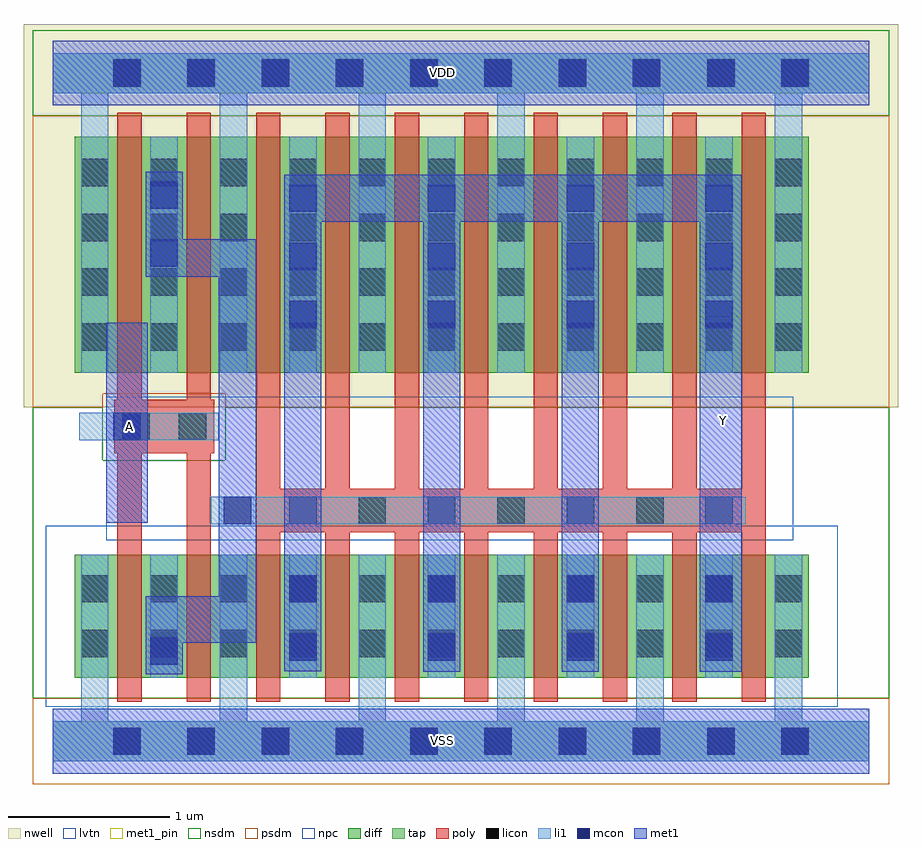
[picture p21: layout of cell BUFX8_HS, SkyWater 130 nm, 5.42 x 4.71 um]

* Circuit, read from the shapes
.subckt BUFX8_HS A VDD VSS Y
XM1 n1 A VSS VSS sky130_fd_pr__nfet_01v8_lvt w=0.76 l=0.15 m=2
XM2 Y n1 VSS VSS sky130_fd_pr__nfet_01v8_lvt w=0.76 l=0.15 m=8
XM3 n1 A VDD VDD sky130_fd_pr__pfet_01v8 w=1.46 l=0.15 m=2
XM4 Y n1 VDD VDD sky130_fd_pr__pfet_01v8 w=1.46 l=0.15 m=8
.ends

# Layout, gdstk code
from math import pi, radians
import gdstk
lib = gdstk.Library(unit=1e-6, precision=1e-09)
def R(c, l, rs):  # rectangles x0, y0, x1, y1
    for r in rs: c.add(gdstk.rectangle(r[:2], r[2:], *l))
def A(c, l, x, y, w, h, nx, ny, dx, dy):  # array of equal rectangles
    R(c, l, [(x+i*dx, y+j*dy, x+i*dx+w, y+j*dy+h) for i in range(nx) for j in range(ny)])
def P(c, l, *ps):  # polygons
    for p in ps: c.add(gdstk.Polygon(p, *l))
nwell = (64, 20)
diff = (65, 20)
tap = (65, 44)
poly = (66, 20)
licon = (66, 44)
li1 = (67, 20)
mcon = (67, 44)
met1_pin = (68, 16)
met1 = (68, 20)
nsdm = (93, 44)
psdm = (94, 20)
npc = (95, 20)
lvtn = (125, 44)

l1m1_c_cdns_750721774072 = lib.new_cell('L1M1_C_CDNS_750721774072')
R(l1m1_c_cdns_750721774072, li1, [(-0.085,-0.165,0.085,0.165)])
R(l1m1_c_cdns_750721774072, mcon, [(-0.085,-0.085,0.085,0.085)])
R(l1m1_c_cdns_750721774072, met1, [(-0.115,-0.145,0.115,0.145)])

pyl1con_c_cdns_750721774 = lib.new_cell('PYL1CON_C_CDNS_750721774073')
R(pyl1con_c_cdns_750721774, poly, [(-0.135,-0.165,0.135,0.165)])
R(pyl1con_c_cdns_750721774, licon, [(-0.085,-0.085,0.085,0.085)])
R(pyl1con_c_cdns_750721774, npc, [(-0.185,-0.185,0.185,0.185)])

l1m1_c_cdns_750721774076 = lib.new_cell('L1M1_C_CDNS_750721774076')
R(l1m1_c_cdns_750721774076, li1, [(-0.085,-0.345,0.085,0.345)])
R(l1m1_c_cdns_750721774076, mcon, [(-0.085,-0.265,0.085,-0.095), (-0.085,0.095,0.085,0.265)])
R(l1m1_c_cdns_750721774076, met1, [(-0.115,-0.325,0.115,0.325)])

l1m1_c_cdns_750721774074 = lib.new_cell('L1M1_C_CDNS_750721774074')
R(l1m1_c_cdns_750721774074, li1, [(-0.165,-0.085,0.165,0.085)])
R(l1m1_c_cdns_750721774074, mcon, [(-0.085,-0.085,0.085,0.085)])
R(l1m1_c_cdns_750721774074, met1, [(-0.115,-0.145,0.115,0.145)])

bufx8_hs = lib.new_cell('BUFX8_HS')
R(bufx8_hs, nwell, [(-0.18,2.07,5.24,4.305), (-0.045,2.105,1.385,3.925), (1.025,2.105,4.865,3.925), (-0.18,3.875,5.24,4.445)])
A(bufx8_hs, diff, 0.4, 0.395, 0.15, 0.76, 10, 1, 0.43, 0)
A(bufx8_hs, diff, 1.41, 0.395, 0.28, 0.76, 7, 1, 0.43, 0)
A(bufx8_hs, diff, 0.4, 2.285, 0.15, 1.46, 10, 1, 0.43, 0)
A(bufx8_hs, diff, 1.41, 2.285, 0.28, 1.46, 7, 1, 0.43, 0)
R(bufx8_hs, diff, [(0.135,0.395,0.4,1.155), (0.55,0.395,0.83,1.155), (0.98,0.395,1.205,1.155), (1.205,0.395,1.26,1.155), (4.42,0.395,4.685,1.155), (0.135,2.285,0.4,3.745), (0.55,2.285,0.83,3.745), (0.98,2.285,1.205,3.745), (1.205,2.285,1.26,3.745), (4.42,2.285,4.685,3.745)])
A(bufx8_hs, poly, 0.4, 0.245, 0.15, 0.055, 10, 2, 0.43, 1.005)
A(bufx8_hs, poly, 0.4, 0.3, 0.15, 0.095, 10, 2, 0.43, 0.855)
A(bufx8_hs, poly, 0.4, 0.395, 0.15, 0.76, 10, 1, 0.43, 0)
A(bufx8_hs, poly, 0.4, 2.135, 0.15, 0.055, 10, 2, 0.43, 1.705)
A(bufx8_hs, poly, 0.4, 2.19, 0.15, 0.095, 10, 2, 0.43, 1.555)
A(bufx8_hs, poly, 0.4, 2.285, 0.15, 1.46, 10, 1, 0.43, 0)
R(bufx8_hs, poly, [(0.38,1.785,1,2.115)])
A(bufx8_hs, licon, 0.375, -0.085, 0.17, 0.17, 10, 2, 0.46, 4.14)
A(bufx8_hs, licon, 0.175, 0.52, 0.17, 0.17, 11, 2, 0.43, 0.34)
A(bufx8_hs, licon, 0.175, 2.42, 0.17, 0.17, 11, 4, 0.43, 0.34)
A(bufx8_hs, li1, 0.175, 0.395, 0.17, 0.76, 11, 1, 0.43, 0)
A(bufx8_hs, li1, 0.175, 2.285, 0.17, 1.46, 11, 1, 0.43, 0)
A(bufx8_hs, mcon, 0.375, -0.085, 0.17, 0.17, 10, 2, 0.46, 4.14)
A(bufx8_hs, mcon, 1.465, 0.5, 0.17, 0.17, 4, 2, 0.86, 0.36)
A(bufx8_hs, mcon, 1.465, 2.56, 0.17, 0.17, 4, 3, 0.86, 0.36)
R(bufx8_hs, met1_pin, [(0.33,1.355,0.59,2.595), (4.01,1.395,4.27,2.635)])
R(bufx8_hs, nsdm, [(-0.005,0.265,1.215,1.285), (1.195,0.265,4.825,1.285), (-0.125,3.875,5.185,4.405), (-0.125,3.93,5.185,4.35)])
P(bufx8_hs, nsdm, [(5.185,2.07),(1.07,2.07),(1.07,1.74),(0.31,1.74),(0.31,2.07),(-0.125,2.07),(-0.125,0.265),(5.185,0.265)])
R(bufx8_hs, psdm, [(-0.125,-0.265,5.185,0.265), (-0.125,-0.21,5.185,0.21), (-0.005,2.155,1.215,3.875), (1.195,2.155,4.825,3.875)])
P(bufx8_hs, psdm, [(5.185,3.875),(-0.125,3.875),(-0.125,2.07),(0.31,2.07),(0.31,2.155),(1.07,2.155),(1.07,2.07),(5.185,2.07)])
R(bufx8_hs, npc, [(0.33,1.245,4.59,2.135)])
R(bufx8_hs, lvtn, [(-0.045,0.215,1.385,1.335), (1.025,0.215,4.865,1.335)])
bufx8_hs.add(gdstk.FlexPath([(0.905,1.86),(0.905,1.305)], 0.15, ends=(0.075, 0), simple_path=True, layer=66, datatype=20))  # poly
bufx8_hs.add(gdstk.FlexPath([(0.905,1.86),(1,1.86)], 0.15, ends=(0.075, 0), simple_path=True, layer=66, datatype=20))  # poly
bufx8_hs.add(gdstk.FlexPath([(0.475,1.86),(0.475,1.305)], 0.15, ends=(0.075, 0), simple_path=True, layer=66, datatype=20))  # poly
bufx8_hs.add(gdstk.FlexPath([(0.475,1.86),(0.38,1.86)], 0.15, ends=(0.075, 0), simple_path=True, layer=66, datatype=20))  # poly
bufx8_hs.add(gdstk.FlexPath([(4.345,2.135),(4.345,1.305)], 0.15, ends="flush", simple_path=True, layer=66, datatype=20))  # poly
bufx8_hs.add(gdstk.FlexPath([(3.915,2.135),(3.915,1.305)], 0.15, ends="flush", simple_path=True, layer=66, datatype=20))  # poly
bufx8_hs.add(gdstk.FlexPath([(3.485,2.135),(3.485,1.305)], 0.15, ends="flush", simple_path=True, layer=66, datatype=20))  # poly
bufx8_hs.add(gdstk.FlexPath([(2.625,2.135),(2.625,1.305)], 0.15, ends="flush", simple_path=True, layer=66, datatype=20))  # poly
bufx8_hs.add(gdstk.FlexPath([(1.765,2.135),(1.765,1.305)], 0.15, ends="flush", simple_path=True, layer=66, datatype=20))  # poly
bufx8_hs.add(gdstk.FlexPath([(0.905,2.135),(0.905,1.86)], 0.15, ends=(0, 0.075), simple_path=True, layer=66, datatype=20))  # poly
bufx8_hs.add(gdstk.FlexPath([(3.055,2.135),(3.055,1.305)], 0.15, ends="flush", simple_path=True, layer=66, datatype=20))  # poly
bufx8_hs.add(gdstk.FlexPath([(2.195,2.135),(2.195,1.305)], 0.15, ends="flush", simple_path=True, layer=66, datatype=20))  # poly
bufx8_hs.add(gdstk.FlexPath([(1.335,2.135),(1.335,1.305)], 0.15, ends="flush", simple_path=True, layer=66, datatype=20))  # poly
bufx8_hs.add(gdstk.FlexPath([(0.475,2.135),(0.475,1.86)], 0.15, ends=(0, 0.075), simple_path=True, layer=66, datatype=20))  # poly
bufx8_hs.add(gdstk.FlexPath([(4.34,0),(5.06,0)], 0.25, ends=(0.085, 0), simple_path=True, layer=67, datatype=20))  # li1
bufx8_hs.add(gdstk.FlexPath([(0.69,0),(2.47,0)], 0.25, ends=(0.085, 0.085), simple_path=True, layer=67, datatype=20))  # li1
bufx8_hs.add(gdstk.FlexPath([(2.47,0),(3.42,0)], 0.25, ends=(0.085, 0.085), simple_path=True, layer=67, datatype=20))  # li1
bufx8_hs.add(gdstk.FlexPath([(0,0),(0.69,0)], 0.25, ends=(0, 0.085), simple_path=True, layer=67, datatype=20))  # li1
bufx8_hs.add(gdstk.FlexPath([(3.42,0),(4.34,0)], 0.25, ends=(0.085, 0.085), simple_path=True, layer=67, datatype=20))  # li1
bufx8_hs.add(gdstk.FlexPath([(2.47,4.14),(3.42,4.14)], 0.25, ends=(0.085, 0.085), simple_path=True, layer=67, datatype=20))  # li1
bufx8_hs.add(gdstk.FlexPath([(0.98,1.43),(4.295,1.43)], 0.17, ends="flush", simple_path=True, layer=67, datatype=20))  # li1
bufx8_hs.add(gdstk.FlexPath([(0,4.14),(0.69,4.14)], 0.25, ends=(0, 0.085), simple_path=True, layer=67, datatype=20))  # li1
bufx8_hs.add(gdstk.FlexPath([(3.42,4.14),(4.34,4.14)], 0.25, ends=(0.085, 0.085), simple_path=True, layer=67, datatype=20))  # li1
bufx8_hs.add(gdstk.FlexPath([(0.69,4.14),(2.47,4.14)], 0.25, ends=(0.085, 0.085), simple_path=True, layer=67, datatype=20))  # li1
bufx8_hs.add(gdstk.FlexPath([(4.34,4.14),(5.06,4.14)], 0.25, ends=(0.085, 0), simple_path=True, layer=67, datatype=20))  # li1
bufx8_hs.add(gdstk.FlexPath([(0.26,0),(0.215,0)], 0.17, ends=(0.085, 0), simple_path=True, layer=67, datatype=20))  # li1
bufx8_hs.add(gdstk.FlexPath([(1.12,0.59),(1.12,0)], 0.17, ends=(0, 0.085), simple_path=True, layer=67, datatype=20))  # li1
bufx8_hs.add(gdstk.FlexPath([(1.98,0),(1.625,0)], 0.17, ends="extended", simple_path=True, layer=67, datatype=20))  # li1
bufx8_hs.add(gdstk.FlexPath([(2.84,0.59),(2.84,0)], 0.17, ends=(0, 0.125), simple_path=True, layer=67, datatype=20))  # li1
bufx8_hs.add(gdstk.FlexPath([(3.7,0),(2.84,0)], 0.17, ends="extended", simple_path=True, layer=67, datatype=20))  # li1
bufx8_hs.add(gdstk.FlexPath([(4.56,0),(3.7,0)], 0.17, ends="extended", simple_path=True, layer=67, datatype=20))  # li1
bufx8_hs.add(gdstk.FlexPath([(0.165,1.95),(1.03,1.95)], 0.17, ends="flush", simple_path=True, layer=67, datatype=20))  # li1
bufx8_hs.add(gdstk.FlexPath([(3.7,3.55),(3.7,4.14)], 0.17, ends=(0, 0.125), simple_path=True, layer=67, datatype=20))  # li1
bufx8_hs.add(gdstk.FlexPath([(3.7,0.59),(3.7,0)], 0.17, ends=(0, 0.125), simple_path=True, layer=67, datatype=20))  # li1
bufx8_hs.add(gdstk.FlexPath([(0.26,4.14),(0.215,4.14)], 0.17, ends=(0.085, 0), simple_path=True, layer=67, datatype=20))  # li1
bufx8_hs.add(gdstk.FlexPath([(1.12,3.55),(1.12,4.14)], 0.17, ends=(0, 0.125), simple_path=True, layer=67, datatype=20))  # li1
bufx8_hs.add(gdstk.FlexPath([(4.56,4.14),(0.26,4.14)], 0.17, ends="extended", simple_path=True, layer=67, datatype=20))  # li1
bufx8_hs.add(gdstk.FlexPath([(4.56,3.55),(4.56,4.14)], 0.17, ends=(0, 0.085), simple_path=True, layer=67, datatype=20))  # li1
bufx8_hs.add(gdstk.FlexPath([(1.12,0),(0.215,0)], 0.17, ends=(0.085, 0), simple_path=True, layer=67, datatype=20))  # li1
bufx8_hs.add(gdstk.FlexPath([(2.84,0),(1.98,0)], 0.17, ends="extended", simple_path=True, layer=67, datatype=20))  # li1
bufx8_hs.add(gdstk.FlexPath([(4.56,0.59),(4.56,0)], 0.17, ends=(0, 0.085), simple_path=True, layer=67, datatype=20))  # li1
bufx8_hs.add(gdstk.FlexPath([(0.26,3.55),(0.26,4.14)], 0.17, ends=(0, 0.085), simple_path=True, layer=67, datatype=20))  # li1
bufx8_hs.add(gdstk.FlexPath([(1.98,3.55),(1.98,4.14)], 0.17, ends=(0, 0.125), simple_path=True, layer=67, datatype=20))  # li1
bufx8_hs.add(gdstk.FlexPath([(2.84,3.55),(2.84,4.14)], 0.17, ends=(0, 0.125), simple_path=True, layer=67, datatype=20))  # li1
bufx8_hs.add(gdstk.FlexPath([(1.98,0.59),(1.98,0)], 0.17, ends=(0, 0.125), simple_path=True, layer=67, datatype=20))  # li1
bufx8_hs.add(gdstk.FlexPath([(0.26,0.59),(0.26,0)], 0.17, ends=(0, 0.085), simple_path=True, layer=67, datatype=20))  # li1
bufx8_hs.add(gdstk.FlexPath([(0,0),(5.06,0)], 0.4, ends="flush", simple_path=True, layer=68, datatype=20))  # met1
bufx8_hs.add(gdstk.FlexPath([(4.27,3.365),(1.435,3.365)], 0.29, ends="flush", simple_path=True, layer=68, datatype=20))  # met1
bufx8_hs.add(gdstk.FlexPath([(0.46,1.355),(0.46,2.595)], 0.26, ends="flush", simple_path=True, layer=68, datatype=20))  # met1
bufx8_hs.add(gdstk.FlexPath([(0,4.14),(5.06,4.14)], 0.4, ends="flush", simple_path=True, layer=68, datatype=20))  # met1
bufx8_hs.add(gdstk.FlexPath([(4.14,0.43),(4.14,3.495)], 0.26, ends="flush", simple_path=True, layer=68, datatype=20))  # met1
bufx8_hs.add(gdstk.FlexPath([(3.27,3.495),(3.27,0.43)], 0.23, ends="flush", simple_path=True, layer=68, datatype=20))  # met1
bufx8_hs.add(gdstk.FlexPath([(2.41,3.495),(2.41,0.43)], 0.23, ends="flush", simple_path=True, layer=68, datatype=20))  # met1
bufx8_hs.add(gdstk.FlexPath([(1.55,3.495),(1.55,0.435)], 0.23, ends="flush", simple_path=True, layer=68, datatype=20))  # met1
bufx8_hs.add(gdstk.FlexPath([(1.145,2.995),(0.575,2.995)], 0.23, ends=(0.115, 0), simple_path=True, layer=68, datatype=20))  # met1
bufx8_hs.add(gdstk.FlexPath([(1.145,1.625),(1.145,2.995)], 0.23, ends=(0, 0.115), simple_path=True, layer=68, datatype=20))  # met1
bufx8_hs.add(gdstk.FlexPath([(0.575,0.755),(1.145,0.755)], 0.29, ends=(0, 0.115), simple_path=True, layer=68, datatype=20))  # met1
bufx8_hs.add(gdstk.FlexPath([(1.145,0.755),(1.145,1.625)], 0.23, ends=(0.145, 0), simple_path=True, layer=68, datatype=20))  # met1
bufx8_hs.add(gdstk.FlexPath([(0,4.14),(5.06,4.14)], 0.25, ends="flush", simple_path=True, layer=65, datatype=44))  # tap
bufx8_hs.add(gdstk.FlexPath([(0,0),(5.06,0)], 0.25, ends="flush", simple_path=True, layer=65, datatype=44))  # tap
bufx8_hs.add(gdstk.FlexPath([(0,4.14),(5.06,4.14)], 0.4, ends="flush", simple_path=True, layer=68, datatype=16))  # met1_pin
bufx8_hs.add(gdstk.FlexPath([(0,0),(5.06,0)], 0.4, ends="flush", simple_path=True, layer=68, datatype=16))  # met1_pin
bufx8_hs.add(gdstk.Reference(l1m1_c_cdns_750721774072, (0.69,0.56)))
bufx8_hs.add(gdstk.Reference(pyl1con_c_cdns_750721774, (2.84,1.43), rotation=pi/2))
bufx8_hs.add(gdstk.Reference(pyl1con_c_cdns_750721774, (0.515,1.95), rotation=pi, x_reflection=True))
bufx8_hs.add(gdstk.Reference(pyl1con_c_cdns_750721774, (0.865,1.95), rotation=pi, x_reflection=True))
bufx8_hs.add(gdstk.Reference(pyl1con_c_cdns_750721774, (3.27,1.43), rotation=pi/2))
bufx8_hs.add(gdstk.Reference(pyl1con_c_cdns_750721774, (2.41,1.43), rotation=pi/2))
bufx8_hs.add(gdstk.Reference(pyl1con_c_cdns_750721774, (4.13,1.43), rotation=pi/2))
bufx8_hs.add(gdstk.Reference(pyl1con_c_cdns_750721774, (3.7,1.43), rotation=pi/2))
bufx8_hs.add(gdstk.Reference(pyl1con_c_cdns_750721774, (1.98,1.43), rotation=pi/2))
bufx8_hs.add(gdstk.Reference(pyl1con_c_cdns_750721774, (1.55,1.43), rotation=pi/2))
bufx8_hs.add(gdstk.Reference(l1m1_c_cdns_750721774076, (0.69,3.205)))
bufx8_hs.add(gdstk.Reference(l1m1_c_cdns_750721774074, (1.145,1.43), x_reflection=True))
bufx8_hs.add(gdstk.Reference(l1m1_c_cdns_750721774074, (0.46,1.95), x_reflection=True))
bufx8_hs.add(gdstk.Label('Y', (4.155,1.99), layer=68, texttype=5))
bufx8_hs.add(gdstk.Label('VDD', (2.415,4.145), layer=68, texttype=5))
bufx8_hs.add(gdstk.Label('VSS', (2.415,0.005), layer=68, texttype=5))
bufx8_hs.add(gdstk.Label('A', (0.475,1.95), layer=68, texttype=5))

lib.write_gds('BUFX8_HS.gds')
